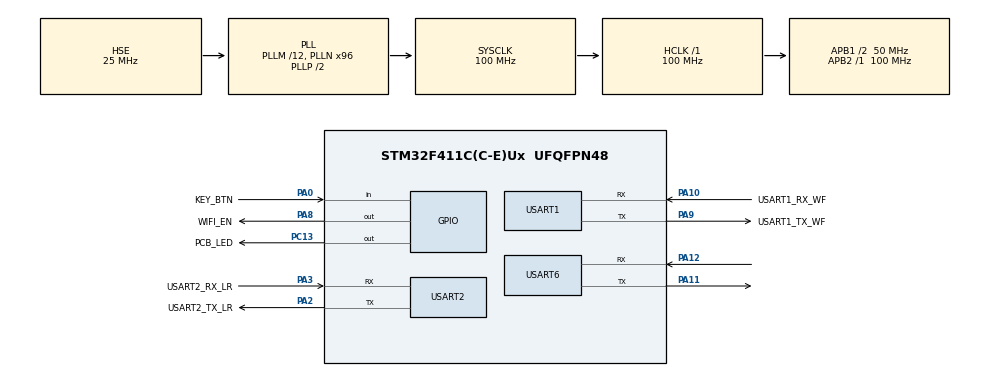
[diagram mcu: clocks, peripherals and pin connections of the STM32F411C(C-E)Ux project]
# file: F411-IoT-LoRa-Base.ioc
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Mcu.Family=STM32F4
Mcu.Name=STM32F411C(C-E)Ux
Mcu.Package=UFQFPN48
NVIC.PriorityGroup=NVIC_PRIORITYGROUP_4
NVIC.TIM2_IRQn=true\:0\:0\:false\:false\:true\:true\:true\:true
NVIC.TIM3_IRQn=true\:0\:0\:false\:false\:true\:true\:true\:true
NVIC.USART1_IRQn=true\:0\:0\:false\:false\:true\:true\:true\:true
NVIC.USART2_IRQn=true\:0\:0\:false\:false\:true\:true\:true\:true
PA0-WKUP.GPIO_Label=KEY_BTN
PA0-WKUP.Signal=GPIO_Input
PA10.GPIO_Label=USART1_RX_WF
PA10.Mode=Asynchronous
PA10.Signal=USART1_RX
PA11.Mode=Asynchronous
PA11.Signal=USART6_TX
PA12.Mode=Asynchronous
PA12.Signal=USART6_RX
PA13.Mode=Trace_Asynchronous_SW
PA13.Signal=SYS_JTMS-SWDIO
PA14.Mode=Trace_Asynchronous_SW
PA14.Signal=SYS_JTCK-SWCLK
PA2.GPIO_Label=USART2_TX_LR
PA2.Mode=Asynchronous
PA2.Signal=USART2_TX
PA3.GPIO_Label=USART2_RX_LR
PA3.Mode=Asynchronous
PA3.Signal=USART2_RX
PA8.GPIO_Label=WIFI_EN
PA8.PinState=GPIO_PIN_SET
PA8.Signal=GPIO_Output
PA9.GPIO_Label=USART1_TX_WF
PA9.Mode=Asynchronous
PA9.Signal=USART1_TX
PB3.Mode=Trace_Asynchronous_SW
PB3.Signal=SYS_JTDO-SWO
PC13-ANTI_TAMP.GPIO_Label=PCB_LED
PC13-ANTI_TAMP.GPIO_ModeDefaultOutputPP=GPIO_MODE_OUTPUT_PP
PC13-ANTI_TAMP.GPIO_PuPd=GPIO_NOPULL
PC13-ANTI_TAMP.Signal=GPIO_Output
PC14-OSC32_IN.Mode=LSE-External-Oscillator
PC14-OSC32_IN.Signal=RCC_OSC32_IN
PC15-OSC32_OUT.Mode=LSE-External-Oscillator
PC15-OSC32_OUT.Signal=RCC_OSC32_OUT
PH0\ -\ OSC_IN.Mode=HSE-External-Oscillator
PH0\ -\ OSC_IN.Signal=RCC_OSC_IN
PH1\ -\ OSC_OUT.Mode=HSE-External-Oscillator
PH1\ -\ OSC_OUT.Signal=RCC_OSC_OUT
ProjectManager.HeapSize=0x200
ProjectManager.StackSize=0x400
ProjectManager.TargetToolchain=STM32CubeIDE
RCC.48MHZClocksFreq_Value=50000000
RCC.AHBFreq_Value=100000000
RCC.APB1CLKDivider=RCC_HCLK_DIV2
RCC.APB1Freq_Value=50000000
RCC.APB1TimFreq_Value=100000000
RCC.APB2Freq_Value=100000000
RCC.APB2TimFreq_Value=100000000
RCC.CortexFreq_Value=100000000
RCC.HCLKFreq_Value=100000000
RCC.HSE_VALUE=25000000
RCC.HSI_VALUE=16000000
RCC.PLLM=12
RCC.PLLN=96
RCC.PLLSourceVirtual=RCC_PLLSOURCE_HSE
RCC.SYSCLKFreq_VALUE=100000000
RCC.SYSCLKSource=RCC_SYSCLKSOURCE_PLLCLK
RCC.VCOOutputFreq_Value=200000000
TIM2.AutoReloadPreload=TIM_AUTORELOAD_PRELOAD_ENABLE
TIM2.Channel-Output\ Compare1\ No\ Output=TIM_CHANNEL_1
TIM2.OCMode_1=TIM_OCMODE_INACTIVE
TIM2.Period=20000
TIM2.Prescaler=1000
TIM3.AutoReloadPreload=TIM_AUTORELOAD_PRELOAD_ENABLE
TIM3.Channel-Output\ Compare1\ No\ Output=TIM_CHANNEL_1
TIM3.OCMode_1=TIM_OCMODE_INACTIVE
TIM3.Period=150
TIM3.Prescaler=100
USART1.VirtualMode=VM_ASYNC
USART2.VirtualMode=VM_ASYNC
USART6.VirtualMode=VM_ASYNC
VP_TIM2_VS_ClockSourceINT.Mode=Internal
VP_TIM2_VS_OPM.Mode=OPM_bit
VP_TIM2_VS_no_output1.Mode=Output Compare1 No Output
VP_TIM3_VS_ClockSourceINT.Mode=Internal
VP_TIM3_VS_OPM.Mode=OPM_bit
VP_TIM3_VS_no_output1.Mode=Output Compare1 No Output
board=custom

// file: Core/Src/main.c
/* USER CODE BEGIN Header */
/**
  ******************************************************************************
  * @file           : main.c
  * @brief          : Main program body
  ******************************************************************************
  * @attention
  *
  * Copyright (c) 2022 STMicroelectronics.
  * All rights reserved.
  *
  * This software is licensed under terms that can be found in the LICENSE file
  * in the root directory of this software component.
  * If no LICENSE file comes with this software, it is provided AS-IS.
  *
  ******************************************************************************
  */
/* USER CODE END Header */
#include "main.h"

/* USER CODE BEGIN Includes */
#include "ESP8266_Chelo.h"
#include "ModBUS_Chelo.h"
#include "STR_Chelo.h"
#include "string.h"
#include "stdio.h"
#include "http.h"
#include "RYLR896.h"
/* USER CODE END Includes */

/* USER CODE BEGIN PTD */
#define TOK 1
#define FIND 0
#define SERVIDOR 1
#define CLIENTE 0
/* USER CODE END PTD */

/* USER CODE BEGIN PM */
#define ITM_Port32(n)   (*((volatile unsigned long *)(0xE0000000+4*n)))
/* USER CODE END PM */

TIM_HandleTypeDef htim2;
TIM_HandleTypeDef htim3;
UART_HandleTypeDef huart1;
UART_HandleTypeDef huart2;
UART_HandleTypeDef huart6;

/* USER CODE BEGIN PV */
struct LoRa lr;
struct WIFI wf;
struct MBUS mb_lr;		// Instancia Ethernet
//struct MBUS mb_wf;		// Instancia Wi-Fi

char post[512];
char body[512];
char ENDPOINT[]="/logdata",//ENDPOINT[]="/tepelco",
     SERVER_IP[]="192.168.0.91",
     PORT[]="8000";

uint8_t decimal[17],
		error=0,
		ESP_REinit=0,			//Conteo de intentos de incializacion
		ESP_InitF=0,			//Flag de error por no encontrar la sentencia
		ESP_HW_Init=0,
		EN_UART1_TMR=0,
		EN_UART2_TMR=0,
		EN_USART1_TMR=0,
		FLAG_TIMEOUT=0,
		FLAG_UART1=0,
		FLAG_UART2=0,
		resultado=0,
		error_rxdata=0,
		esp_restart=0,
		conexion,
		WF_SND_FLAG=0;

uint16_t datos[]={0,0,0,0,0,0,0,0,0,0,0,0,0,0,0,0,0};

uint32_t ms_ticks=0,
		 min_ticks=0;

char	UART_RX_vect[1024],
		UART2_RX_vect[512],
		UART_RX_vect_hld[1024],
		WIFI_NET[]="PLC_DEV",//WIFI_NET[]="Fibertel WiFi967 2.4GHz",//WIFI_NET[]="PLC_DEV",//
		WIFI_PASS[]="12345678",//WIFI_PASS[]="0042880756",//WIFI_PASS[]="12345678",//
		TCP_SERVER[]="192.168.0.91",//TCP_SERVER[]="192.168.0.65",//TCP_SERVER[]="192.168.0.102",//TCP_SERVER[]="192.168.0.47",
		TCP_PORT[]="8000",//TCP_PORT[]="502",
		TCP_SERVER_LOCAL[]="192.168.0.33",//TCP_SERVER[]="192.168.0.47",
		TCP_SERVER_LOCAL_GWY[]="192.168.0.99",//TCP_SERVER[]="192.168.0.47",
		TCP_SERVER_LOCAL_MSK[]="255.255.255.0",//TCP_SERVER[]="192.168.0.47",
		TCP_PORT_LOCAL[]="502",
		CMP_VECT[]="\0",
		UART_RX_byte[2],
		UART2_RX_byte[2];

int 	wf_snd_flag_ticks=0,
		UART_RX_items=0,
		UART2_RX_items=0,
		ESP_ticks=0,
		MB_TOUT_ticks=0,
		ticks=0,
		ntestc=0,
		uart1pass=0,
		USART1_ticks=0,
		FLAG_USART1=0,
		items_rx=0,
		UART_RX_pos=0;
		UART2_RX_pos=0;

enum {
	TEPELCO,
	TEST_1,
	TEST_2,
	TEST_3,
	TEST_4,
	TEST_5,
	TEST_6,
	PM710
};
/* USER CODE END PV */

void SystemClock_Config(void);
static void MX_GPIO_Init(void);
static void MX_SPI1_Init(void);
static void MX_USART1_UART_Init(void);
static void MX_USART2_UART_Init(void);
static void MX_USART6_UART_Init(void);
static void MX_TIM2_Init(void);
static void MX_TIM3_Init(void);
/* USER CODE BEGIN PFP */
uint8_t ESP8266_HW_Init(UART_HandleTypeDef *);
/* USER CODE END PFP */

int main(void)
{
  /* USER CODE BEGIN 1 */

	  //----------------------- LoRa ------------------------//

	  //----------------------- LoRa ------------------------//

	  //----------------------- WIFI ------------------------//
 	  	Inicializar(&wf); 									//Borra todos los registros de la estructura
 	  	wf.RESET_PORT=GPIOA;
 	  	wf.RESET_PIN=GPIO_PIN_8;
		strcpy(wf._WF_Net, WIFI_NET);						//Nombre de la red WIFI  a conectar Fibertel WiFi967 2.4GHz
		strcpy(wf._WF_Pass, WIFI_PASS);						//Password de la red WIFI
		strcpy(wf._TCP_Remote_Server_IP, TCP_SERVER);		//char _TCP_Remote_Server_IP[16];		//IP del Servidor TCP
		strcpy(wf._TCP_Remote_Server_Port, TCP_PORT);		//char _TCP_Remote_Server_Port[16];			//Puerto del Servidor TCP
		strcpy(wf._TCP_Local_Server_IP, TCP_SERVER_LOCAL);
		strcpy(wf._TCP_Local_Server_GWY, TCP_SERVER_LOCAL_GWY);
		strcpy(wf._TCP_Local_Server_MSK, TCP_SERVER_LOCAL_MSK);
		strcpy(wf._TCP_Local_Server_Port, TCP_PORT_LOCAL);
		wf._TCP_Local_Server_EN=0;							//Habilito el Servidor Local
		wf._estado_conexion=100;//Si no se define no arranca	//wf._estado_conexion=1;					//Arranco en WiFi Desconectado
		wf._automatizacion=WF_CONNECT_TCP;//wf._automatizacion=WF_SEND;
		wf._NO_IP=1;
		wf._DBG_EN=1;
     //----------------------- WIFI ------------------------//

		for(uint8_t i=0;i<=16;i++)
		{
			decimal[i]=1;
		}
	 //----------------------- WIFI ------------------------//

	 //---------------------- ModBUS -----------------------//

		ModBUS_Config(&mb_lr);		//ETHERNET como cliente TCP envía  ModBUS
		mb_lr._mode = CLIENTE;

	 //---------------------- ModBUS -----------------------//
  /* USER CODE END 1 */

  /* MCU Configuration--------------------------------------------------------*/

  /* Reset of all peripherals, Initializes the Flash interface and the Systick. */
  HAL_Init();

  /* Configure the system clock */
  SystemClock_Config();

  /* USER CODE BEGIN SysInit */
  SysTick_Config(SystemCoreClock/1000);
  /* USER CODE END SysInit */

  /* Initialize all configured peripherals */
  MX_GPIO_Init();
  MX_USART1_UART_Init();
  MX_USART2_UART_Init();
  MX_USART6_UART_Init();
  MX_TIM2_Init();
  MX_TIM3_Init();
  /* USER CODE BEGIN 2 */

  HAL_GPIO_WritePin(GPIOA, GPIO_PIN_1, 0);
  ITM0_Write("\r\n INICIO OK\r\n",strlen("\r\n INICIO OK\r\n"));
     HW_RESET(&wf);
     if (wf._DBG_EN) ITM0_Write("\r\n RESET ESP8266 \r\n",strlen("\r\n RESET ESP8266 \r\n"));
     HAL_UART_Receive_IT(&huart1,(uint8_t *)UART_RX_byte,1);
     HAL_UART_Receive_IT(&huart2,(uint8_t *)UART2_RX_byte,1);

     if(ESP8266_HW_Init(&huart1)==1)
     {
   	  ESP_HW_Init=1;
   	  if (wf._DBG_EN) ITM0_Write("\r\n ESP HW Init OK\r\n",strlen("\r\n ESP HW Init OK\r\n"));
     }
     else
		 {
		   HW_RESET(&wf);
		  if(ESP8266_HW_Init(&huart1)==1)
			  {
				  ESP_HW_Init=1;
				  if (wf._DBG_EN) ITM0_Write("\r\n ESP HW Init OK\r\n",strlen("\r\n ESP HW Init OK\r\n"));
			  }
			  else
				  {
					  ESP_HW_Init=0;
					  if (wf._DBG_EN)  ITM0_Write("\r\n ESP HW Init Fail\r\n",strlen("\r\n ESP HW Init Fail\r\n"));
				  }
		 }

     HAL_Delay(1000);
  /* USER CODE END 2 */

  /* Infinite loop */
  while (1)
  {

    /* USER CODE BEGIN 3 */

	  /**************[ INICIO PIDO ENVIAR DATOS ]**************/
  if (ESP_HW_Init==1)
	  	  {
			if((WF_SND_FLAG==1)&&(wf._TCP_Local_Server_EN==0)&&(wf._estado_conexion>=609)&&(lr._data_available))
	  			{	lr._data_available=0;
	  				wf_snd_flag_ticks=0;
	  				WF_SND_FLAG=0;
		  			for(uint8_t i=0;i<=16;i++)
		  				{
		  					datos[i]=ModBUS_F03_Read(&mb_lr,i);//datos[i]=ModBUS_F03_Read(&mb_lr,i);
		  				}

		  				if(httpPOST2(ENDPOINT, SERVER_IP,PORT,&datos,&decimal,16,TEST_1,post,body, 512))
							{
							CopiaVector(wf._data2SND,post,strlen(post),0,'A');
							wf._n_D2SND=strlen(post);
								if(wf._automatizacion < WF_SEND)		// Send only with automation sent diasabled
								{
									EnviarDatos(&wf);
									wf._estado_conexion=TCP_SND_EN_CURSO;
								}
							}
	  			}
	  	  }
	  /**************[ FIN PIDO ENVIAR DATOS ]**************/

	  		if ((FLAG_UART1==1)||(FLAG_TIMEOUT==1))  //Si recibí datos o me fui por TimeOUT
	  		{
	  			if(FLAG_UART1==1)
	  				{
	  					CopiaVector(wf._uartRCVD,UART_RX_vect_hld,UART_RX_items,1,CMP_VECT);
	  					FLAG_UART1=0;

	  						if (error_rxdata==3)
	  						{
	  							error_rxdata=0;
	  						}
	  						if (error_rxdata==1)
	  						{
	  							error_rxdata=5;
	  							error_rxdata=0;
	  						}
	  				}
	  			if(FLAG_TIMEOUT==1)
	  					{
	  						FLAG_TIMEOUT=0;
	  					}

	  			if (ESP_HW_Init==1) //Si el módulo se inició correctamente
	  				{
	  					/*************** Copio y proceso info recibida ***************/
	  					wf._n_orig=UART_RX_items;
	  					CopiaVector(wf._uartRCVD,UART_RX_vect_hld,UART_RX_items,1,CMP_VECT);
	  					resultado=AT_ESP8266_ND(&wf);
	  					}

	  		}
// AGREGAR TIMER EN MS TICKS PARA HABILITAR ESTADO Y CUENTA TODOS EN EL STRUCT
	  		if((FLAG_UART2 == 1)||(lr.tmr_dly_ON==1))  //Evento de dato recibido LoRA debo verificar que es
	  		{
	  			if(FLAG_UART2==1)
	  				{
	  				FLAG_UART2=0;
	  				LoRa_decode(&lr);
	  				if(lr._data_available)
	  				{
	  					CopiaVector(lr.dataRCV_hld,lr.dataRCV,lr._n_dataRCV,1,"D");
	  					char num[6];
	  					int i=0;
	  					int n=0;
	  					int lnn=0;
	  					lnn=strlen(lr.dataRCV_hld);
	  					while(i < lnn-1)
	  					{
							if( i!=0) i++;
							int j=0;

								while(lr.dataRCV_hld[i] != ';')
								{
									if(lr.dataRCV_hld[i] != '.')
									{
										num[j]=lr.dataRCV_hld[i];
										j++;
									}
									i++;
								}
							num[j]='\0';
							ModBUS_F03_Assign(&mb_lr,n,atoi(num,10));
							n++;//Incremento posición  a almacenar
	  					}
	  				}
	  				}

	  			if(lr.tmr_dly_ON==1)
	  				{
	  					lr.tmr_dly_ON=0;
	  					LoRa_reset_sndTIMER(&lr,3000);
						lr.dest_address[0]='\0';
						lr.txbuff[0]='\0';
			  			strncat(lr.dest_address,"1",1);
			  			strncat(lr.txbuff,"prueba de envio de mensaje de texto",strlen("prueba de envio de mensaje de texto"));
			  			lr.txitems=strlen("prueba de envio de mensaje de texto");
		  				lr.estado=_SENT;										//
			  			error=LoRa_Send(&lr,&huart2);
	  				}
	  		}

	  		if (ESP_HW_Init==1) //Si el módulo se inició correctamente
	  			{
	  				conexion=WiFi_Conn_ND(&wf,&huart1,1);	//Tiene que ir en el main el chequeo es constante
	  			}
	  		if (esp_restart==1) //WRNNG Hardcoded RESET WIFI
	  			{

	  				HW_RESET(&wf);
	  				HAL_Delay(5000);//210419
	  				esp_restart=0;
	  				wf._estado=0;
	  				wf._estado_conexion=100;
	  				ConectarWIFI(&wf);
	  			}
  }
  /* USER CODE END 3 */
}

void SystemClock_Config(void)
{
  RCC_OscInitTypeDef RCC_OscInitStruct = {0};
  RCC_ClkInitTypeDef RCC_ClkInitStruct = {0};

  /** Configure the main internal regulator output voltage
  */
  __HAL_RCC_PWR_CLK_ENABLE();
  __HAL_PWR_VOLTAGESCALING_CONFIG(PWR_REGULATOR_VOLTAGE_SCALE1);

  /** Initializes the RCC Oscillators according to the specified parameters
  * in the RCC_OscInitTypeDef structure.
  */
  RCC_OscInitStruct.OscillatorType = RCC_OSCILLATORTYPE_HSE;
  RCC_OscInitStruct.HSEState = RCC_HSE_ON;
  RCC_OscInitStruct.PLL.PLLState = RCC_PLL_ON;
  RCC_OscInitStruct.PLL.PLLSource = RCC_PLLSOURCE_HSE;
  RCC_OscInitStruct.PLL.PLLM = 12;
  RCC_OscInitStruct.PLL.PLLN = 96;
  RCC_OscInitStruct.PLL.PLLP = RCC_PLLP_DIV2;
  RCC_OscInitStruct.PLL.PLLQ = 4;
  if (HAL_RCC_OscConfig(&RCC_OscInitStruct) != HAL_OK)
  {
    Error_Handler();
  }

  /** Initializes the CPU, AHB and APB buses clocks
  */
  RCC_ClkInitStruct.ClockType = RCC_CLOCKTYPE_HCLK|RCC_CLOCKTYPE_SYSCLK
                              |RCC_CLOCKTYPE_PCLK1|RCC_CLOCKTYPE_PCLK2;
  RCC_ClkInitStruct.SYSCLKSource = RCC_SYSCLKSOURCE_PLLCLK;
  RCC_ClkInitStruct.AHBCLKDivider = RCC_SYSCLK_DIV1;
  RCC_ClkInitStruct.APB1CLKDivider = RCC_HCLK_DIV2;
  RCC_ClkInitStruct.APB2CLKDivider = RCC_HCLK_DIV1;

  if (HAL_RCC_ClockConfig(&RCC_ClkInitStruct, FLASH_LATENCY_3) != HAL_OK)
  {
    Error_Handler();
  }
}

static void MX_TIM2_Init(void)
{

  TIM_ClockConfigTypeDef sClockSourceConfig = {0};
  TIM_MasterConfigTypeDef sMasterConfig = {0};
  TIM_OC_InitTypeDef sConfigOC = {0};

  htim2.Instance = TIM2;
  htim2.Init.Prescaler = 1000;
  htim2.Init.CounterMode = TIM_COUNTERMODE_UP;
  htim2.Init.Period = 20000;
  htim2.Init.ClockDivision = TIM_CLOCKDIVISION_DIV1;
  htim2.Init.AutoReloadPreload = TIM_AUTORELOAD_PRELOAD_ENABLE;
  if (HAL_TIM_Base_Init(&htim2) != HAL_OK)
  {
    Error_Handler();
  }
  sClockSourceConfig.ClockSource = TIM_CLOCKSOURCE_INTERNAL;
  if (HAL_TIM_ConfigClockSource(&htim2, &sClockSourceConfig) != HAL_OK)
  {
    Error_Handler();
  }
  if (HAL_TIM_OC_Init(&htim2) != HAL_OK)
  {
    Error_Handler();
  }
  if (HAL_TIM_OnePulse_Init(&htim2, TIM_OPMODE_SINGLE) != HAL_OK)
  {
    Error_Handler();
  }
  sMasterConfig.MasterOutputTrigger = TIM_TRGO_RESET;
  sMasterConfig.MasterSlaveMode = TIM_MASTERSLAVEMODE_DISABLE;
  if (HAL_TIMEx_MasterConfigSynchronization(&htim2, &sMasterConfig) != HAL_OK)
  {
    Error_Handler();
  }
  sConfigOC.OCMode = TIM_OCMODE_INACTIVE;
  sConfigOC.Pulse = 0;
  sConfigOC.OCPolarity = TIM_OCPOLARITY_HIGH;
  sConfigOC.OCFastMode = TIM_OCFAST_DISABLE;
  if (HAL_TIM_OC_ConfigChannel(&htim2, &sConfigOC, TIM_CHANNEL_1) != HAL_OK)
  {
    Error_Handler();
  }

}

static void MX_TIM3_Init(void)
{

  TIM_ClockConfigTypeDef sClockSourceConfig = {0};
  TIM_MasterConfigTypeDef sMasterConfig = {0};
  TIM_OC_InitTypeDef sConfigOC = {0};

  htim3.Instance = TIM3;
  htim3.Init.Prescaler = 100;
  htim3.Init.CounterMode = TIM_COUNTERMODE_UP;
  htim3.Init.Period = 150;
  htim3.Init.ClockDivision = TIM_CLOCKDIVISION_DIV1;
  htim3.Init.AutoReloadPreload = TIM_AUTORELOAD_PRELOAD_ENABLE;
  if (HAL_TIM_Base_Init(&htim3) != HAL_OK)
  {
    Error_Handler();
  }
  sClockSourceConfig.ClockSource = TIM_CLOCKSOURCE_INTERNAL;
  if (HAL_TIM_ConfigClockSource(&htim3, &sClockSourceConfig) != HAL_OK)
  {
    Error_Handler();
  }
  if (HAL_TIM_OC_Init(&htim3) != HAL_OK)
  {
    Error_Handler();
  }
  if (HAL_TIM_OnePulse_Init(&htim3, TIM_OPMODE_SINGLE) != HAL_OK)
  {
    Error_Handler();
  }
  sMasterConfig.MasterOutputTrigger = TIM_TRGO_RESET;
  sMasterConfig.MasterSlaveMode = TIM_MASTERSLAVEMODE_DISABLE;
  if (HAL_TIMEx_MasterConfigSynchronization(&htim3, &sMasterConfig) != HAL_OK)
  {
    Error_Handler();
  }
  sConfigOC.OCMode = TIM_OCMODE_INACTIVE;
  sConfigOC.Pulse = 0;
  sConfigOC.OCPolarity = TIM_OCPOLARITY_HIGH;
  sConfigOC.OCFastMode = TIM_OCFAST_DISABLE;
  if (HAL_TIM_OC_ConfigChannel(&htim3, &sConfigOC, TIM_CHANNEL_1) != HAL_OK)
  {
    Error_Handler();
  }

}

static void MX_USART1_UART_Init(void)
{

  huart1.Instance = USART1;
  huart1.Init.BaudRate = 115200;
  huart1.Init.WordLength = UART_WORDLENGTH_8B;
  huart1.Init.StopBits = UART_STOPBITS_1;
  huart1.Init.Parity = UART_PARITY_NONE;
  huart1.Init.Mode = UART_MODE_TX_RX;
  huart1.Init.HwFlowCtl = UART_HWCONTROL_NONE;
  huart1.Init.OverSampling = UART_OVERSAMPLING_16;
  if (HAL_UART_Init(&huart1) != HAL_OK)
  {
    Error_Handler();
  }

}

static void MX_USART2_UART_Init(void)
{

  huart2.Instance = USART2;
  huart2.Init.BaudRate = 115200;
  huart2.Init.WordLength = UART_WORDLENGTH_8B;
  huart2.Init.StopBits = UART_STOPBITS_1;
  huart2.Init.Parity = UART_PARITY_NONE;
  huart2.Init.Mode = UART_MODE_TX_RX;
  huart2.Init.HwFlowCtl = UART_HWCONTROL_NONE;
  huart2.Init.OverSampling = UART_OVERSAMPLING_16;
  if (HAL_UART_Init(&huart2) != HAL_OK)
  {
    Error_Handler();
  }

}

static void MX_USART6_UART_Init(void)
{

  huart6.Instance = USART6;
  huart6.Init.BaudRate = 115200;
  huart6.Init.WordLength = UART_WORDLENGTH_8B;
  huart6.Init.StopBits = UART_STOPBITS_1;
  huart6.Init.Parity = UART_PARITY_NONE;
  huart6.Init.Mode = UART_MODE_TX_RX;
  huart6.Init.HwFlowCtl = UART_HWCONTROL_NONE;
  huart6.Init.OverSampling = UART_OVERSAMPLING_16;
  if (HAL_UART_Init(&huart6) != HAL_OK)
  {
    Error_Handler();
  }

}

static void MX_GPIO_Init(void)
{
  GPIO_InitTypeDef GPIO_InitStruct = {0};

  /* GPIO Ports Clock Enable */
  __HAL_RCC_GPIOC_CLK_ENABLE();
  __HAL_RCC_GPIOH_CLK_ENABLE();
  __HAL_RCC_GPIOA_CLK_ENABLE();
  __HAL_RCC_GPIOB_CLK_ENABLE();

  /*Configure GPIO pin Output Level */
  HAL_GPIO_WritePin(PCB_LED_GPIO_Port, PCB_LED_Pin, GPIO_PIN_RESET);

  /*Configure GPIO pin Output Level */
  HAL_GPIO_WritePin(GPIOA, WIFI_EN_Pin, GPIO_PIN_SET);

  /*Configure GPIO pin : PCB_LED_Pin */
  GPIO_InitStruct.Pin = PCB_LED_Pin;
  GPIO_InitStruct.Mode = GPIO_MODE_OUTPUT_PP;
  GPIO_InitStruct.Pull = GPIO_NOPULL;
  GPIO_InitStruct.Speed = GPIO_SPEED_FREQ_LOW;
  HAL_GPIO_Init(PCB_LED_GPIO_Port, &GPIO_InitStruct);

  /*Configure GPIO pin : KEY_BTN_Pin */
  GPIO_InitStruct.Pin = KEY_BTN_Pin;
  GPIO_InitStruct.Mode = GPIO_MODE_INPUT;
  GPIO_InitStruct.Pull = GPIO_NOPULL;
  HAL_GPIO_Init(KEY_BTN_GPIO_Port, &GPIO_InitStruct);

  /*Configure GPIO pin : WIFI_EN_Pin */
  GPIO_InitStruct.Pin = WIFI_EN_Pin;
  GPIO_InitStruct.Mode = GPIO_MODE_OUTPUT_PP;
  GPIO_InitStruct.Pull = GPIO_NOPULL;
  GPIO_InitStruct.Speed = GPIO_SPEED_FREQ_LOW;
  HAL_GPIO_Init(WIFI_EN_GPIO_Port, &GPIO_InitStruct);

}

/* USER CODE BEGIN 4 */

int ITM0_Write( char *ptr, int len)
{
 int DataIdx;

  for(DataIdx=0; DataIdx<len; DataIdx++)
  {
    ITM_SendChar(*ptr++);
  }
  return len;
}

void SysTick_Handler(void)
{
  /* USER CODE BEGIN SysTick_IRQn 0 */

	ms_ticks++;	//100 ms

	ESP_ticks++;
	if(mb_lr._w_answer) MB_TOUT_ticks++;
	if ( mb_lr._w_answer && (mb_lr._timeout < MB_TOUT_ticks))
		{
			mb_lr._w_answer=0;
			MB_TOUT_ticks=0;
		}
// ENVIO DATOS LoRa ---------------------------------------------------------------//

	if(lr.tmr_dly_en==1)
	{
		lr.tmr_dlyCNT++;
		if(lr.tmr_dlyCNT > lr.tmr_dly)
		{
			lr.tmr_dly_ON=1;
			lr.tmr_dly_en=0;
		}
	}
// ENVIO DATOS LoRa ---------------------------------------------------------------//
// ENVIO DATOS WF ---------------------------------------------------------------//

	if((wf._estado_conexion==609 || wf._estado_conexion==700)&&(wf._TCP_Local_Server_EN==0))  wf_snd_flag_ticks++;

	if(wf_snd_flag_ticks>= 2000 && wf._ejecucion!=1 && wf._TCP_Local_Server_EN==0)		 	  WF_SND_FLAG=1;

// ENVIO DATOS WF ----------------------------------- ---------------------------//

if (ms_ticks==100)//(ms_ticks==250)//(ms_ticks==50)
  {

	  ms_ticks=0;
	  min_ticks++;

	  HAL_GPIO_TogglePin(GPIOC, GPIO_PIN_13);

	  if(min_ticks==2)//if(min_ticks==10)
		  {
		  	  min_ticks=0;  /* SETEO CADA 2 min*/
		  }
  }

	if(EN_USART1_TMR==1) USART1_ticks++;

	if(USART1_ticks>=2)//if(USART1_ticks>=10)
	{
		USART1_ticks=0;
		FLAG_USART1=1;
		EN_USART1_TMR=0;
		items_rx=uart1pass;
		uart1pass=0;
	}

  /* USER CODE END SysTick_IRQn 0 */
  HAL_IncTick();
  /* USER CODE BEGIN SysTick_IRQn 1 */
	if(wf._estado_conexion==4)//if((wf._estado_conexion!=1)&&(wf._estado_conexion!=2)&&(resultado!=20)&&(resultado!=24)) //Solo cuento cuando no estahaciendo otra cosa
	{
		ticks++;
	}
	else
	{
		ticks=0;
	}

    if((wf._estado_conexion==TCP_CONN_EN_CURSO) || (wf._estado_conexion==CONEXION_EN_CURSO)) wf._ticks2++;	//Conteo

 	if((wf._estado_conexion==CONEXION_EN_CURSO) && (wf._ticks2 >10000))	//Si no cambia de esado en 10 segundos lo reinicio
 	{
 		wf._ticks2=0;
 		esp_restart=1;
 	}
 	if(wf._estado_conexion==TCP_CONN_ERROR || wf._estado_conexion==CONEXION_ERROR) wf._ticks2++;

if(wf._ejecucion==1)
	{
		if (FLAG_TIMEOUT!=1)
		{
			if(wf._instruccion!=2) wf._ticks++;//-----------------------Solo cuento una vez reconcido el timeout, cuando entro al timeout no cuento
			if(wf._instruccion==2) wf._ticks2++;
		}
		if ((wf._instruccion!=2)&&(wf._ticks > 5500))
		{
			FLAG_TIMEOUT=1;
			if(huart1.Instance->CR1 == 0x200C)  //--------------------Evito error UART colgado
			{
				HAL_UART_Receive_IT(&huart1,(uint8_t *)UART_RX_byte,1);
				EN_UART1_TMR=0; //OBS-VER Para que me vuelva a habilitar el timer
			}
		}
		if ((wf._instruccion==2)&&(wf._ticks2 > 20500)) //if (wf._ticks > 5000)
		{
			FLAG_TIMEOUT=1;
			if(huart1.Instance->CR1 == 0x200C)  //--------------------Evito error UART colgado
			{
				HAL_UART_Receive_IT(&huart1,(uint8_t *)UART_RX_byte,1);
				EN_UART1_TMR=0; //OBS-VER Para que me vuelva a habilitar el timer
			}
		}
	}
	else
	{
		wf._ticks=0;
	}
  /* USER CODE END SysTick_IRQn 1 */
}
void HAL_UART_ErrorCallback(UART_HandleTypeDef *ERRUART)

{
	if(ERRUART->Instance==USART1)
	{
		 volatile int aore=0;
		 volatile int bore=0;
		//Al leer los registros de esta forma SR y luego DR se resetean los errores de Framing Noise y Overrun FE NE ORE
		 wf._debug_count9++;
		 aore=ERRUART->Instance->SR;
		 bore=ERRUART->Instance->DR;
		 HAL_UART_DeInit(ERRUART);
		 MX_USART1_UART_Init();
		 HAL_UART_Receive_IT(ERRUART,(uint8_t *)UART_RX_byte,1);
	}
	if(ERRUART->Instance==USART2)
	{
		 volatile int aore=0;
		 volatile int bore=0;

		//Al leer los registros de esta forma SR y luego DR se resetean los errores de Framing Noise y Overrun FE NE ORE
		 wf._debug_count9++;
		 aore=ERRUART->Instance->SR;
		 bore=ERRUART->Instance->DR;
		 HAL_UART_DeInit(ERRUART);
		 MX_USART2_UART_Init();
		 HAL_UART_Receive_IT(ERRUART,(uint8_t *)UART2_RX_byte,1);
	}
}

void HAL_TIM_ErrorCallback(TIM_HandleTypeDef *htim2)
{

		wf._debug_count10++;

}

void HAL_UART_RxCpltCallback(UART_HandleTypeDef *INTSERIE)
{

// WiFi	USART 1 TIMER2
	if(INTSERIE->Instance==USART1)
		 {
			UART_RX_vect[UART_RX_pos]=UART_RX_byte[0];
			UART_RX_pos++;
			if(UART_RX_pos>=1022) UART_RX_pos=1022;
			HAL_TIM_OC_Start_IT(&htim2, TIM_CHANNEL_1);//HAL_TIM_Base_Start_IT(&htim7);	//Habilito el timer
			TIM2->CNT=1;
			EN_UART1_TMR=1;	//Habilito Timeout de software
			HAL_UART_Receive_IT(INTSERIE,(uint8_t *)UART_RX_byte,1);
		 }
// LoRa USART2 TIMER3
	if(INTSERIE->Instance==USART2)
		 {
			UART2_RX_vect[UART2_RX_pos]=UART2_RX_byte[0];
			UART2_RX_pos++;
			if(UART2_RX_pos>=512) UART2_RX_pos=512;
			HAL_GPIO_WritePin(GPIOA, GPIO_PIN_1, 1);
			HAL_TIM_OC_Start_IT(&htim3, TIM_CHANNEL_1);//HAL_TIM_Base_Start_IT(&htim7);	//Habilito el timer
			TIM3->CNT=1;
			EN_UART2_TMR=1;	//Habilito Timeout de software
			HAL_UART_Receive_IT(INTSERIE,(uint8_t *)UART2_RX_byte,1);
		 }
 }

void HAL_TIM_OC_DelayElapsedCallback(TIM_HandleTypeDef *TIMER)
{
// WiFi	USART 1 TIMER2
		if(TIMER->Instance==TIM2)
			{
				 HAL_TIM_OC_Stop_IT(TIMER, TIM_CHANNEL_1); //Paro el timer
				 FLAG_UART1=1;
				 EN_UART1_TMR=0;
				 UART_RX_items=UART_RX_pos;
				 UART_RX_pos=0;
				 UART_RX_vect[1022]='\0'; //Finalizo el vector a la fuerza ya que recibo hasta 124
				 CopiaVector(UART_RX_vect_hld,UART_RX_vect,UART_RX_items,1,CMP_VECT);
				 HAL_UART_Receive_IT(&huart1,(uint8_t *)UART_RX_byte,1); //Habilito le recepcón de puerto serie al terminar
				 if (wf._DBG_EN==1)
				 {
					 ITM0_Write((uint8_t *)UART_RX_vect_hld,UART_RX_items);
				 }
		}
// LoRa USART2 TIMER3
		if(TIMER->Instance==TIM3)
			{
				 HAL_TIM_OC_Stop_IT(TIMER, TIM_CHANNEL_1); //Paro el timer
				 HAL_GPIO_WritePin(GPIOA, GPIO_PIN_1, 0);
				 FLAG_UART2=1;
				 EN_UART2_TMR=0;
				 UART2_RX_items=UART2_RX_pos;
				 UART2_RX_pos=0;
				 UART2_RX_vect[512]='\0'; //Finalizo el vector a la fuerza ya que recibo hasta 124
				 CopiaVector(lr.rxbuff,UART2_RX_vect,UART2_RX_items,1,CMP_VECT);
				 lr.rxitems=UART2_RX_items;
				 HAL_UART_Receive_IT(&huart2,(uint8_t *)UART2_RX_byte,1); //Habilito le recepcón de puerto serie al terminar
				 if (wf._DBG_EN==1)
				 {
					 ITM0_Write("\r\nData LoRa recibida = ",strlen("\r\nData LoRa recibida = "));
					 ITM0_Write((uint8_t *)UART2_RX_vect,UART2_RX_items);
					 ITM0_Write("\r\n",strlen("\r\n"));
				 }
		}
}

uint8_t ESP8266_HW_Init(UART_HandleTypeDef *SerialPort) //Devuelve 1 si reinició OK, y 0 si no
{
	  do{
		  HAL_UART_Transmit(SerialPort, "AT+RESTORE\r\n",strlen("AT+RESTORE\r\n"),100);
		  HAL_Delay(500);

		  wf._n_fcomp=strlen("ready");
		  wf._n_orig=UART_RX_items;

		  while(FT_String_ND(UART_RX_vect_hld,&wf._n_orig,"ready",&wf._n_fcomp,wf._uartRCVD_tok,&wf._n_tok,&ntestc,&wf._id_conn,&wf._overflowVector,FIND)!=1)
		  {
			  	  wf._n_orig=UART_RX_items;
			  	  if (ESP_ticks>=5000)
			  		 {
			  		 ESP_InitF=1;
			  		 break;
			  		 }
		  }

		  if(ESP_InitF==0)	//Si encontró la sentencia anterior analizo la siguiente
		  {
			  wf._n_fcomp=strlen("ready");
			  wf._n_orig=UART_RX_items;
			  while(FT_String_ND(UART_RX_vect_hld,&wf._n_orig,"ready",&wf._n_fcomp,wf._uartRCVD_tok,&wf._n_tok,&ntestc,&wf._id_conn,&wf._overflowVector,FIND)!=1)
			  {
				  wf._n_orig=UART_RX_items;
				  if (ESP_ticks>=5000)
					 {
					 break;
					 }
			  }
		  }

		  if (ESP_ticks<5000)
		  {
			  ESP_REinit=10;
			  ESP_ticks=0;
		  }
		  else
		  {
			  ESP_REinit++;
			  ESP_ticks=0;
		  }

	  } while (ESP_REinit<=5);

	  if(ESP_REinit==10)
	  {
		  return(1);
	  }
	  else
	  {
		  return(0);
	  }
}

/* USER CODE END 4 */

void Error_Handler(void)
{
  __disable_irq();
  while (1)
  {
  }
}
